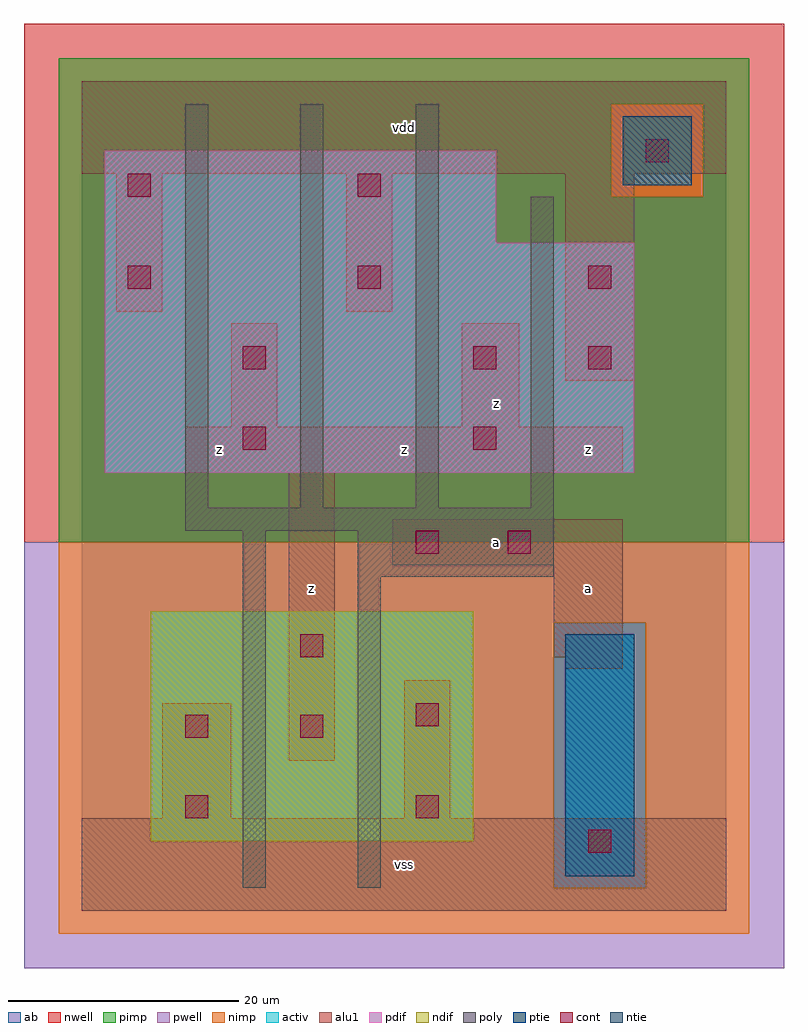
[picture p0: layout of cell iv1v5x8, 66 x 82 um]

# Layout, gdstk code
import gdstk
lib = gdstk.Library(unit=1e-6, precision=1e-09)
def R(c, l, rs):  # rectangles x0, y0, x1, y1
    for r in rs: c.add(gdstk.rectangle(r[:2], r[2:], *l))
def A(c, l, x, y, w, h, nx, ny, dx, dy):  # array of equal rectangles
    R(c, l, [(x+i*dx, y+j*dy, x+i*dx+w, y+j*dy+h) for i in range(nx) for j in range(ny)])
ndif = (3, 0)
pdif = (4, 0)
ntie = (5, 0)
ptie = (6, 0)
cont = (25, 0)
pwell = (41, 0)
nwell = (42, 0)
activ = (43, 0)
pimp = (44, 0)
nimp = (45, 0)
poly = (46, 0)
alu1 = (49, 0)
ab = (63, 0)

iv1v5x8 = lib.new_cell('iv1v5x8')
R(iv1v5x8, ndif, [(6,6,34,26)])
R(iv1v5x8, pdif, [(2,38,48,58), (2,58,36,66)])
R(iv1v5x8, ntie, [(47,63,53,69)])
R(iv1v5x8, ptie, [(42,3,48,24)])
A(iv1v5x8, cont, 4, 54, 2, 2, 3, 1, 20, 0)
R(iv1v5x8, cont, [(44,5,46,7), (9,8,11,10), (29,8,31,10), (9,15,11,17), (19,15,21,17), (29,16,31,18), (19,22,21,24), (29,31,31,33), (37,31,39,33), (14,40,16,42), (34,40,36,42), (14,47,16,49), (34,47,36,49), (44,47,46,49), (4,62,6,64), (24,62,26,64), (49,65,51,67)])
R(iv1v5x8, pwell, [(-5,-5,61,32)])
R(iv1v5x8, nwell, [(-5,32,61,77)])
R(iv1v5x8, activ, [(42,3,48,24), (6,6,34,26), (2,38,48,58), (2,58,36,66), (47,63,53,69)])
R(iv1v5x8, pimp, [(41,2,49,25), (-2,32,58,62), (-2,62,46,70), (54,62,58,70), (-2,70,58,74)])
R(iv1v5x8, nimp, [(-2,-2,58,2), (-2,2,41,25), (49,2,58,25), (-2,25,58,32), (46,62,54,70)])
A(iv1v5x8, poly, 9, 35, 2, 35, 3, 1, 10, 0)
R(iv1v5x8, poly, [(14,2,16,33), (24,2,26,29), (24,29,41,33), (9,33,41,35), (39,35,41,62)])
R(iv1v5x8, alu1, [(0,0,56,8), (7,8,13,18), (28,8,32,20), (18,13,22,38), (42,21,47,22), (41,22,47,30), (27,30,47,34), (9,38,47,42), (13,42,17,51), (33,42,38,51), (42,46,48,64), (3,52,7,64), (23,52,27,64), (0,64,56,72)])
R(iv1v5x8, ab, [(0,0,56,72)])
iv1v5x8.add(gdstk.Label('z', (20,28), layer=49, texttype=0))
iv1v5x8.add(gdstk.Label('z', (12,40), layer=49, texttype=0))
iv1v5x8.add(gdstk.Label('vss', (28,4), layer=49, texttype=0))
iv1v5x8.add(gdstk.Label('a', (36,32), layer=49, texttype=0))
iv1v5x8.add(gdstk.Label('z', (28,40), layer=49, texttype=0))
iv1v5x8.add(gdstk.Label('z', (36,44), layer=49, texttype=0))
iv1v5x8.add(gdstk.Label('vdd', (28,68), layer=49, texttype=0))
iv1v5x8.add(gdstk.Label('a', (44,28), layer=49, texttype=0))
iv1v5x8.add(gdstk.Label('z', (44,40), layer=49, texttype=0))

lib.write_gds('iv1v5x8.gds')
